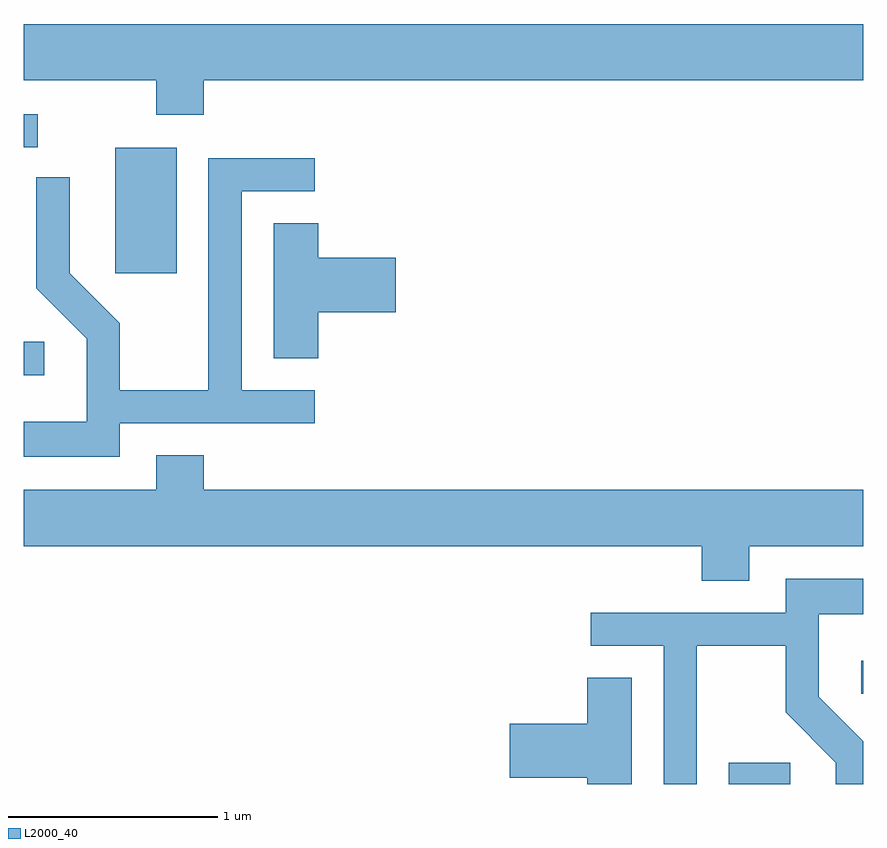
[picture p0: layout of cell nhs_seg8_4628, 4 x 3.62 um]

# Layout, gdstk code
import gdstk
lib = gdstk.Library(unit=1e-6, precision=1e-09)
def R(c, l, rs):  # rectangles x0, y0, x1, y1
    for r in rs: c.add(gdstk.rectangle(r[:2], r[2:], *l))
def P(c, l, *ps):  # polygons
    for p in ps: c.add(gdstk.Polygon(p, *l))
L2000_40 = (2000, 40)

nhs_seg8_4628 = lib.new_cell('nhs_seg8_4628')
R(nhs_seg8_4628, L2000_40, [(326.971,1886.342,327.264,1886.444), (327.603,1886.771,327.611,1886.929), (323.611,1888.291,323.708,1888.449), (324.046,1888.776,324.339,1889.374), (323.611,1889.376,323.678,1889.534)])
P(nhs_seg8_4628, L2000_40, [(324.469,1889.696),(327.611,1889.696),(327.611,1889.964),(323.611,1889.964),(323.611,1889.696),(324.241,1889.696),(324.241,1889.531),(324.469,1889.531)],
  [(324.069,1888.061),(324.998,1888.061),(324.998,1888.219),(324.649,1888.219),(324.649,1889.166),(324.998,1889.166),(324.998,1889.324),(324.491,1889.324),(324.491,1888.219),(324.069,1888.219),(324.069,1888.537),(323.829,1888.777),(323.829,1889.233),(323.671,1889.233),(323.671,1888.704),(323.911,1888.464),(323.911,1888.069),(323.611,1888.069),(323.611,1887.901),(324.069,1887.901)],
  [(325.014,1888.591),(325.384,1888.591),(325.384,1888.849),(325.014,1888.849),(325.014,1889.014),(324.801,1889.014),(324.801,1888.371),(325.014,1888.371)],
  [(324.241,1887.909),(324.241,1887.744),(323.611,1887.744),(323.611,1887.476),(326.841,1887.476),(326.841,1887.311),(327.069,1887.311),(327.069,1887.476),(327.611,1887.476),(327.611,1887.744),(324.469,1887.744),(324.469,1887.909)],
  [(326.819,1887.001),(327.241,1887.001),(327.241,1886.684),(327.481,1886.444),(327.481,1886.342),(327.611,1886.342),(327.611,1886.545),(327.399,1886.757),(327.399,1887.151),(327.611,1887.151),(327.611,1887.319),(327.241,1887.319),(327.241,1887.159),(326.313,1887.159),(326.313,1887.001),(326.661,1887.001),(326.661,1886.342),(326.819,1886.342)],
  [(326.509,1886.849),(326.296,1886.849),(326.296,1886.629),(325.926,1886.629),(325.926,1886.371),(326.296,1886.371),(326.296,1886.342),(326.509,1886.342)])

lib.write_gds('nhs_seg8_4628.gds')
